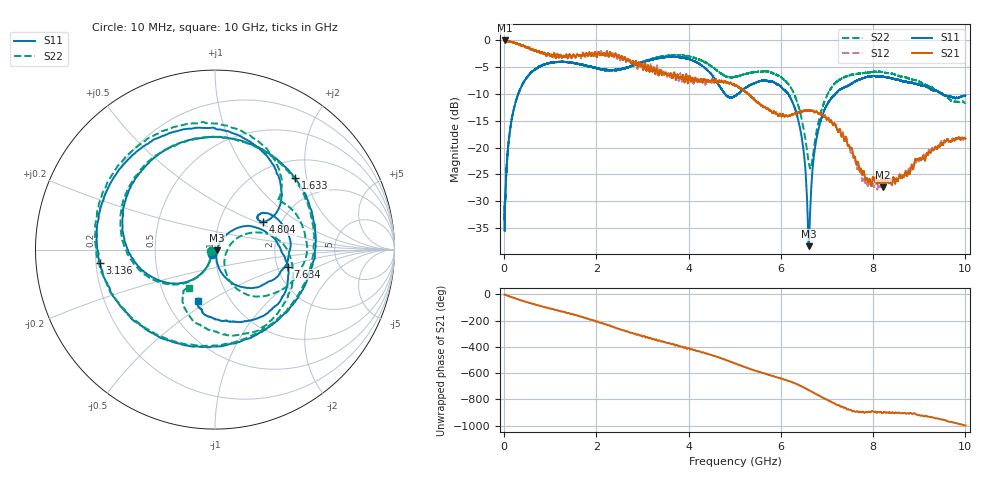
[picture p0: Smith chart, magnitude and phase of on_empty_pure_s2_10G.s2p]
!Agilent Technologies,E8362C,MY43020457,A.09.42.15
!Agilent E8362C: A.09.42.15
!Date: Friday, March 13, 2026 15:01:56
!Correction: S11(Full 2 Port(1,2))
!S21(Full 2 Port(1,2))
!S12(Full 2 Port(1,2))
!S22(Full 2 Port(1,2))
!S2P File: Measurements: S11, S21, S12, S22:
# Hz S  dB  R 50
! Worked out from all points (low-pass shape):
!   20001 points, 10 MHz to 10 GHz, reference 50 ohm
!   highest |S21| = -0.07 dB at 10.5 MHz (marker M1); lowest = -27.4 dB at 8.217 GHz (marker M2)
!   |S21| within 3 dB of the highest: start of sweep to 1.107 GHz; 1.557 GHz to 2.003 GHz (447 MHz wide, 25.1 % of centre)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
!   lowest |S11| = -38.4 dB at 6.604 GHz (marker M3), VSWR 1.02, Z = 51.2 - j0.303 ohm
!   |S11| at or under -10 dB: start of sweep to 307.3 MHz; 6.158 GHz to 7.182 GHz (1.025 GHz wide, 15.4 % of centre); 9.503 GHz to end of sweep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
!   |S22| runs from -33.9 to -2.8 dB; largest |S21 - S12| = 0.056
!   S11 on the Smith chart (normalised r, x): 10 MHz: 0.97, -0.05; 1.633 GHz: 1.38, +1.71; 3.136 GHz: 0.22, -0.06; 4.804 GHz: 1.61, +0.55; 7.634 GHz: 2.28, -0.52; 10 GHz: 0.71, -0.45
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1e7  -30.32 -121.0  -0.08 -1.5  -0.11 -1.5  -32.40 -166.0
1.04995e7  -33.37 -154.3  -0.07 -1.3  -0.20 -1.7  -33.90 -151.3
1.51858e8  -15.33 -122.2  -0.33 -19.7  -0.34 -19.6  -15.38 -121.1
4.091005e8  -8.08 -158.9  -1.04 -50.0  -1.05 -50.2  -8.05 -156.4
1.121887e9  -4.08 107.2  -3.35 -118.9  -3.36 -118.6  -4.08 112.4
1.633375e9  -4.46 41.8  -2.81 -166.1  -2.80 -167.2  -4.47 47.0
1.675333e9  -4.56 36.2  -3.00 -170.4  -3.37 -169.2  -4.56 41.3
2.491016e9  -5.46 -80.3  -2.88 95.9  -2.68 93.6  -5.54 -83.1
3.13637e9  -3.81 -173.3  -5.30 25.3  -5.47 25.8  -3.64 -175.4
3.340166e9  -3.36 160.3  -6.34 6.4  -6.20 3.7  -3.21 159.6
3.917089e9  -3.33 94.7  -7.76 -42.4  -7.52 -42.5  -2.93 99.0
4.803702e9  -10.19 30.1  -7.81 -139.2  -7.74 -138.8  -6.74 39.0
5.005e9  -10.39 38.1  -8.41 -165.9  -8.45 -165.6  -6.81 36.0
6.17333e9  -10.20 -43.5  -14.07 60.6  -13.90 59.2  -8.32 -42.0
6.445558e9  -17.86 -75.0  -13.34 19.9  -13.42 19.6  -14.48 -65.1
6.6039e9  -38.37 -14.2  -13.11 -7.9  -13.11 -8.4  -22.85 -40.4
6.670333e9  -25.91 55.9  -13.21 -21.0  -13.16 -21.3  -22.93 2.3
6.949554e9  -12.86 35.8  -14.27 -73.1  -13.99 -73.2  -11.35 20.6
7.633868e9  -7.63 -13.2  -23.11 -173.1  -23.60 -178.2  -6.33 -33.0
8.216785e9  -6.78 -53.1  -27.38 -178.2  -26.65 -172.2  -6.02 -68.8
8.335166e9  -6.99 -60.2  -26.56 179.4  -26.54 179.6  -6.15 -74.8
1e10  -10.32 -108.4  -18.32 82.1  -18.34 81.4  -11.69 -123.8
